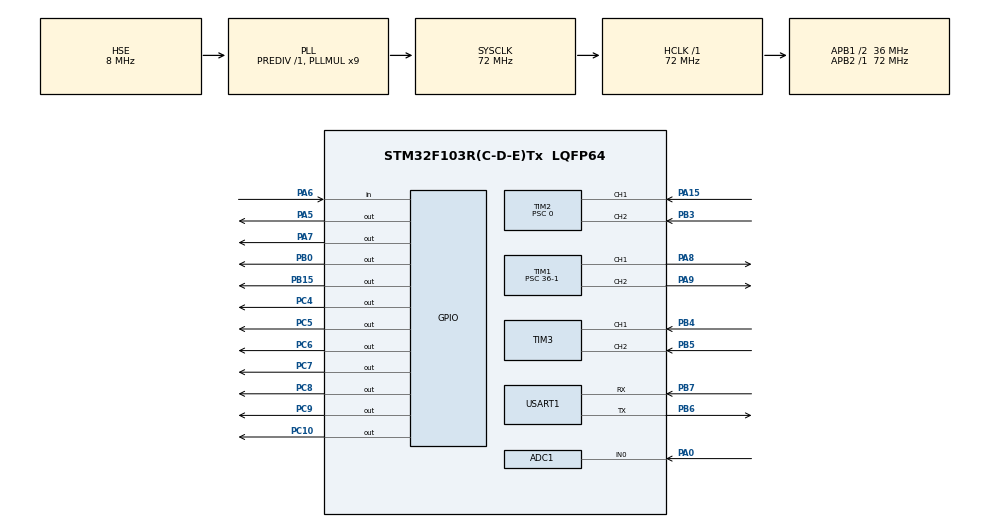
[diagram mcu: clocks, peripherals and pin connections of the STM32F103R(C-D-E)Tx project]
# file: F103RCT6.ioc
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ADC1.Channel-0\#ChannelRegularConversion=ADC_CHANNEL_0
ADC1.NbrOfConversionFlag=1
ADC1.Rank-0\#ChannelRegularConversion=1
ADC1.SamplingTime-0\#ChannelRegularConversion=ADC_SAMPLETIME_1CYCLE_5
ADC1.master=1
Dma.Request0=USART1_RX
Dma.USART1_RX.0.Direction=DMA_PERIPH_TO_MEMORY
Dma.USART1_RX.0.Instance=DMA1_Channel5
Dma.USART1_RX.0.MemDataAlignment=DMA_MDATAALIGN_BYTE
Dma.USART1_RX.0.MemInc=DMA_MINC_ENABLE
Dma.USART1_RX.0.Mode=DMA_CIRCULAR
Dma.USART1_RX.0.PeriphDataAlignment=DMA_PDATAALIGN_BYTE
Dma.USART1_RX.0.PeriphInc=DMA_PINC_DISABLE
Dma.USART1_RX.0.Priority=DMA_PRIORITY_LOW
IWDG.Prescaler=IWDG_PRESCALER_16
IWDG.Reload=1250
Mcu.Family=STM32F1
Mcu.Name=STM32F103R(C-D-E)Tx
Mcu.Package=LQFP64
NVIC.DMA1_Channel5_IRQn=true\:0\:0\:false\:false\:true\:false\:true\:true
NVIC.PriorityGroup=NVIC_PRIORITYGROUP_4
NVIC.TIM6_IRQn=true\:0\:0\:false\:false\:true\:true\:true\:true
NVIC.USART1_IRQn=true\:0\:0\:false\:false\:true\:true\:true\:true
PA0-WKUP.Signal=ADCx_IN0
PA13.Mode=Serial_Wire
PA13.Signal=SYS_JTMS-SWDIO
PA14.Mode=Serial_Wire
PA14.Signal=SYS_JTCK-SWCLK
PA15.Signal=S_TIM2_CH1_ETR
PA5.Signal=GPIO_Output
PA6.Signal=GPIO_Input
PA7.Signal=GPIO_Output
PA8.Signal=S_TIM1_CH1
PA9.Signal=S_TIM1_CH2
PB0.Signal=GPIO_Output
PB15.Signal=GPIO_Output
PB3.Signal=S_TIM2_CH2
PB4.Signal=S_TIM3_CH1
PB5.Signal=S_TIM3_CH2
PB6.Mode=Asynchronous
PB6.Signal=USART1_TX
PB7.Mode=Asynchronous
PB7.Signal=USART1_RX
PC10.Signal=GPIO_Output
PC4.Signal=GPIO_Output
PC5.Signal=GPIO_Output
PC6.Signal=GPIO_Output
PC7.Signal=GPIO_Output
PC8.Signal=GPIO_Output
PC9.Signal=GPIO_Output
PD0-OSC_IN.Mode=HSE-External-Oscillator
PD0-OSC_IN.Signal=RCC_OSC_IN
PD1-OSC_OUT.Mode=HSE-External-Oscillator
PD1-OSC_OUT.Signal=RCC_OSC_OUT
ProjectManager.HeapSize=0x200
ProjectManager.StackSize=0x400
ProjectManager.TargetToolchain=MDK-ARM V5.32
RCC.ADCPresc=RCC_ADCPCLK2_DIV6
RCC.AHBFreq_Value=72000000
RCC.APB1CLKDivider=RCC_HCLK_DIV2
RCC.APB1Freq_Value=36000000
RCC.APB1TimFreq_Value=72000000
RCC.APB2Freq_Value=72000000
RCC.APB2TimFreq_Value=72000000
RCC.HCLKFreq_Value=72000000
RCC.PLLMUL=RCC_PLL_MUL9
RCC.PLLSourceVirtual=RCC_PLLSOURCE_HSE
RCC.SYSCLKFreq_VALUE=72000000
RCC.SYSCLKSource=RCC_SYSCLKSOURCE_PLLCLK
RCC.USBFreq_Value=72000000
SH.ADCx_IN0.0=ADC1_IN0,IN0
SH.S_TIM1_CH1.0=TIM1_CH1,PWM Generation1 CH1
SH.S_TIM1_CH2.0=TIM1_CH2,PWM Generation2 CH2
SH.S_TIM2_CH1_ETR.0=TIM2_CH1,Encoder_Interface
SH.S_TIM2_CH2.0=TIM2_CH2,Encoder_Interface
SH.S_TIM3_CH1.0=TIM3_CH1,Encoder_Interface
SH.S_TIM3_CH2.0=TIM3_CH2,Encoder_Interface
TIM1.AutoReloadPreload=TIM_AUTORELOAD_PRELOAD_ENABLE
TIM1.Channel-PWM\ Generation1\ CH1=TIM_CHANNEL_1
TIM1.Channel-PWM\ Generation2\ CH2=TIM_CHANNEL_2
TIM1.Period=200-1
TIM1.Prescaler=36-1
TIM2.Period=65535
TIM2.Prescaler=0
TIM6.AutoReloadPreload=TIM_AUTORELOAD_PRELOAD_DISABLE
TIM6.Period=1000-1
TIM6.Prescaler=180-10
USART1.VirtualMode=VM_ASYNC
VP_IWDG_VS_IWDG.Mode=IWDG_Activate
VP_TIM1_VS_ClockSourceINT.Mode=Internal
VP_TIM6_VS_ClockSourceINT.Mode=Enable_Timer
board=custom

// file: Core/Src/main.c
/* USER CODE BEGIN Header */
/**
  ******************************************************************************
  * @file           : main.c
  * @brief          : Main program body
  ******************************************************************************
  * @attention
  *
  * Copyright (c) 2026 STMicroelectronics.
  * All rights reserved.
  *
  * This software is licensed under terms that can be found in the LICENSE file
  * in the root directory of this software component.
  * If no LICENSE file comes with this software, it is provided AS-IS.
  *
  ******************************************************************************
  */
/* USER CODE END Header */
#include "main.h"
#include "adc.h"
#include "dma.h"
#include "iwdg.h"
#include "tim.h"
#include "usart.h"
#include "gpio.h"

/* USER CODE BEGIN Includes */
#include "buzzer.h"
#include "motor.h"
#include "encoder.h"
#include "bmi088.h"
#include "delay.h"
#include "myadc.h"
#include <stdio.h>
#include <string.h>
/* USER CODE END Includes */

/* USER CODE BEGIN PM */
u8 accel_id, gyro_id;
u8 bmi_init_done;

volatile u8 task_flag;

float yaw, yaw1, yaw_velocity, yaw_angle;
int16_t gyro[3];

float speed, current_speed, target_distance;

volatile float target_speed, target_angle, target_gyro;
volatile u8 connected, request_odom, request_voltage, stop, reset, start;

int16_t rpm1, rpm2;

int16_t now1, now2, last1, last2, speed1, speed2;

uint16_t tim_count;

int32_t pos1, pos2;

int32_t angle_speed_err;
int16_t pwm_fwd;
int16_t pwm_fwd2;

/* 50ms 滑动窗口测速 (SPD_WIN=10 tick × 5ms) */
#define SPD_WIN 10
static int32_t wsum1 = 0, wsum2 = 0;
static int32_t whist1[SPD_WIN], whist2[SPD_WIN];
static uint8_t widx1 = 0, widx2 = 0;

volatile u8 rx_data;
u8 rx_buffer[RX_BUFFER_SIZE];
char spd_buf[16];
int32_t whole;
int32_t frac;
int32_t sgn;
float spd;

/* USER CODE END PM */

void SystemClock_Config(void);

/* USER CODE BEGIN 0 */
void FloatToBytes(float value, uint8_t *out_data, uint8_t is_big_endian)
{
    union {
        float f;
        uint32_t u;
        uint8_t b[4];
    } converter;

    converter.f = value; // 将浮点数装入联合体，此时联合体内部存储的是小端字节序

    if (is_big_endian)
    {
        // 大端：高位在前，低位在后（网络字节序）
        out_data[0] = converter.b[3]; // 最高字节 (MSB)
        out_data[1] = converter.b[2];
        out_data[2] = converter.b[1];
        out_data[3] = converter.b[0]; // 最低字节 (LSB)
    }
    else
    {
        // 小端：低位在前，高位在后（STM32默认字节序）
        out_data[0] = converter.b[0]; // 最低字节 (LSB)
        out_data[1] = converter.b[1];
        out_data[2] = converter.b[2];
        out_data[3] = converter.b[3]; // 最高字节 (MSB)
    }
}

void Int32ToBytes(int32_t value, uint8_t *out)
{
    out[0] = (value >> 24) & 0xFF;
    out[1] = (value >> 16) & 0xFF;
    out[2] = (value >> 8) & 0xFF;
    out[3] = value & 0xFF;
}
/* USER CODE END 0 */

int main(void)
{

  /* MCU Configuration--------------------------------------------------------*/

  /* Reset of all peripherals, Initializes the Flash interface and the Systick. */
  HAL_Init();

  /* Configure the system clock */
  SystemClock_Config();

  /* Initialize all configured peripherals */
  MX_GPIO_Init();
  MX_DMA_Init();
  MX_ADC1_Init();
  MX_TIM1_Init();
  MX_TIM2_Init();
  MX_USART1_UART_Init();
  MX_TIM3_Init();
  MX_TIM6_Init();
  //MX_IWDG_Init();
  /* USER CODE BEGIN 2 */
  delay_ms(10);
  bmi088_read_id(&accel_id, &gyro_id);
  delay_ms(10);
  Encoder_Start();
  HAL_TIM_Base_Start_IT(&htim6);

  buzzer_start();

  bmi088_yaw_calibrate(1000, 2);
  bmi088_yaw_reset();

  Motor_Init();

  /*启动DMA空闲接收中断,DMA全中断、半中断*/
  HAL_UARTEx_ReceiveToIdle_DMA(&huart1, rx_buffer, RX_BUFFER_SIZE);
  /*关闭DMA全中断、半中断*/
  __HAL_DMA_DISABLE_IT(&hdma_usart1_rx, DMA_IT_HT);
  __HAL_DMA_DISABLE_IT(&hdma_usart1_rx, DMA_IT_TC);

  Motor_Stop();

  /* USER CODE END 2 */

  /* Infinite loop */
  /* USER CODE BEGIN WHILE */
  while (1)
  {
    //HAL_IWDG_Refresh(&hiwdg);
    if(task_flag == 1)
    {
      /*目标速度(v)、目标角速度(w) 由USART1收到12字节帧后写入, 不再硬编码*/
      yaw_angle = bmi088_yaw_update();  //获取yaw轴角度
      bmi088_read_gyro(gyro);           //获取yaw轴角速度原始值
      yaw_velocity = (float)gyro[2] / 16.4f;   //将yaw轴角速度原始值转换为单位为°/s的角度值

      /* 打印yaw角度字符串 */
/*       {
          float sa = yaw_angle;
          int32_t sgn = (sa < 0) ? -1 : 1;
          float aa = sa * (float)sgn;
          int32_t w = (int32_t)aa;
          int32_t f = (int32_t)((aa - w) * 100.0f + 0.5f);
          char yb[16];
          sprintf(yb, "yaw=%s%d.%02d\r\n", (sgn<0)?"-":"+", w, f);
          HAL_UART_Transmit(&huart1, (uint8_t*)yb, strlen(yb), 10);
      } */
      now1 = -(int16_t)Encoder_Read(&htim3);      //获取编码器读数(int16回绕安全)
      now2 = (int16_t)Encoder_Read(&htim2);

      speed1 = now1 - last1;            //根据5ms的间隔时间及该段时间内检测到的脉冲数计算出脉冲速度
      speed2 = now2 - last2;

      /* 50ms 滑动窗口测速 */
      wsum1 += speed1 - whist1[widx1];  whist1[widx1] = speed1;  widx1 = (widx1 + 1) % SPD_WIN;
      wsum2 += speed2 - whist2[widx2];  whist2[widx2] = speed2;  widx2 = (widx2 + 1) % SPD_WIN;

      /* 窗口平均速度显示 (m/s) 仅测速*/
      spd = (float)wsum2 * WHEEL_CIRC_MM / ((float)ENCODER_PPR * SPD_WIN * 5.0f);
      sgn = (spd < 0) ? -1 : 1;
      float spd_abs = spd * (float)sgn;
      whole = (int32_t)spd_abs;
      frac  = (int32_t)((spd_abs - whole) * 100.0f + 0.5f);

      pos1 += (int32_t)speed1;                   //累计脉冲数
      pos2 += (int32_t)speed2;

      last1 = now1;
      last2 = now2;

      /* cmd_vel 差速解算: v(线速度), w(角速度) → 左右轮 → 每轮独立速度环
       * 反馈用50ms窗口平均速度(每5ms脉冲), 避免低速时瞬时脉冲为0导致PID失效
       * 缓加减速: 仅线速度每控制步限幅, 角速度直接用命令 */
      {
        #define ACCEL_LIMIT    1.0f   /* 线加速度 m/s² */
        #define V_MAX          0.8f   /* 线速度上限 m/s */
        static float v_ramp = 0;

        float d_v = target_speed - v_ramp;
        if (d_v >  ACCEL_LIMIT * 0.005f) d_v =  ACCEL_LIMIT * 0.005f;
        if (d_v < -ACCEL_LIMIT * 0.005f) d_v = -ACCEL_LIMIT * 0.005f;
        v_ramp += d_v;
        if (v_ramp >  V_MAX) v_ramp =  V_MAX;
        if (v_ramp < -V_MAX) v_ramp = -V_MAX;

        float v_left  = v_ramp - target_gyro * (WHEELBASE_MM / 2000.0f);
        float v_right = v_ramp + target_gyro * (WHEELBASE_MM / 2000.0f);

        float fb1 = (float)wsum1 / SPD_WIN;   /* 窗口平均 → 每5ms脉冲 */
        float fb2 = (float)wsum2 / SPD_WIN;

        pwm_fwd  = Velocity1(mps_to_tick(v_left),  fb1);   /* 轮1 = htim3 */
        pwm_fwd2 = Velocity2(mps_to_tick(v_right), fb2);   /* 轮2 = htim2 */

        //HAL_UART_Transmit(&huart1, (u8 *)&target_speed, 4, 10);

        M_setspeed(pwm_fwd, pwm_fwd2);
      }
      task_flag = 0;
    }

    if(reset == 1)
    {
      target_speed = 0;
      target_gyro = 0;
      Motor_Stop();
      reset = 0;
    }

    if(request_odom == 1)
    {
      //HAL_GPIO_WritePin(BUZZER_PORT, BUZZER_PIN, GPIO_PIN_SET);
      /*发送实时yaw轴角度以及左右轮速度，以字节格式*/
      u8 send_buff[14];
      send_buff[0] = 0xA1;
      FloatToBytes(yaw_angle, &send_buff[1],1);
      Int32ToBytes(pos1, &send_buff[5]);
      Int32ToBytes(pos2, &send_buff[9]);
      send_buff[13] = 0xB1;
      HAL_UART_Transmit(&huart1, send_buff, 14, 10);
/*       sprintf(spd_buf, "%s%d.%02d\r\n", (sgn<0)?"-":"", whole, frac);
      HAL_UART_Transmit(&huart1, (uint8_t*)spd_buf, strlen(spd_buf), 10); */
      /* 调试: 打印目标/实测/PWM/脉冲增量 */
/*       sprintf(spd_buf, "t=%.2f spd=%.2f pwm=%d,%d s1=%d s2=%d\r\n",
              (double)target_speed, (double)spd, (int)pwm_fwd, (int)pwm_fwd2,
              (int)speed1, (int)speed2);
      HAL_UART_Transmit(&huart1, (uint8_t*)spd_buf, strlen(spd_buf), 10); */
      request_odom = 0;
    }

    if(request_voltage == 1)/* 发送电池电压 */
    {
      float v = voltage_read_battery();
      u8 vb[6];
      vb[0] = 0xA2;
      FloatToBytes(v, &vb[1], 1);
      vb[5] = 0xB2;
      HAL_UART_Transmit(&huart1, vb, 6, 10);
      request_voltage = 0;
    }

    /* USER CODE END WHILE */

  }
}

void SystemClock_Config(void)
{
  RCC_OscInitTypeDef RCC_OscInitStruct = {0};
  RCC_ClkInitTypeDef RCC_ClkInitStruct = {0};
  RCC_PeriphCLKInitTypeDef PeriphClkInit = {0};

  /** Initializes the RCC Oscillators according to the specified parameters
  * in the RCC_OscInitTypeDef structure.
  */
  RCC_OscInitStruct.OscillatorType = RCC_OSCILLATORTYPE_LSI|RCC_OSCILLATORTYPE_HSE;
  RCC_OscInitStruct.HSEState = RCC_HSE_ON;
  RCC_OscInitStruct.HSEPredivValue = RCC_HSE_PREDIV_DIV1;
  RCC_OscInitStruct.HSIState = RCC_HSI_ON;
  RCC_OscInitStruct.LSIState = RCC_LSI_ON;
  RCC_OscInitStruct.PLL.PLLState = RCC_PLL_ON;
  RCC_OscInitStruct.PLL.PLLSource = RCC_PLLSOURCE_HSE;
  RCC_OscInitStruct.PLL.PLLMUL = RCC_PLL_MUL9;
  if (HAL_RCC_OscConfig(&RCC_OscInitStruct) != HAL_OK)
  {
    Error_Handler();
  }

  /** Initializes the CPU, AHB and APB buses clocks
  */
  RCC_ClkInitStruct.ClockType = RCC_CLOCKTYPE_HCLK|RCC_CLOCKTYPE_SYSCLK
                              |RCC_CLOCKTYPE_PCLK1|RCC_CLOCKTYPE_PCLK2;
  RCC_ClkInitStruct.SYSCLKSource = RCC_SYSCLKSOURCE_PLLCLK;
  RCC_ClkInitStruct.AHBCLKDivider = RCC_SYSCLK_DIV1;
  RCC_ClkInitStruct.APB1CLKDivider = RCC_HCLK_DIV2;
  RCC_ClkInitStruct.APB2CLKDivider = RCC_HCLK_DIV1;

  if (HAL_RCC_ClockConfig(&RCC_ClkInitStruct, FLASH_LATENCY_2) != HAL_OK)
  {
    Error_Handler();
  }
  PeriphClkInit.PeriphClockSelection = RCC_PERIPHCLK_ADC;
  PeriphClkInit.AdcClockSelection = RCC_ADCPCLK2_DIV6;
  if (HAL_RCCEx_PeriphCLKConfig(&PeriphClkInit) != HAL_OK)
  {
    Error_Handler();
  }
}

void Error_Handler(void)
{
  __disable_irq();
  while (1)
  {
  }
}
